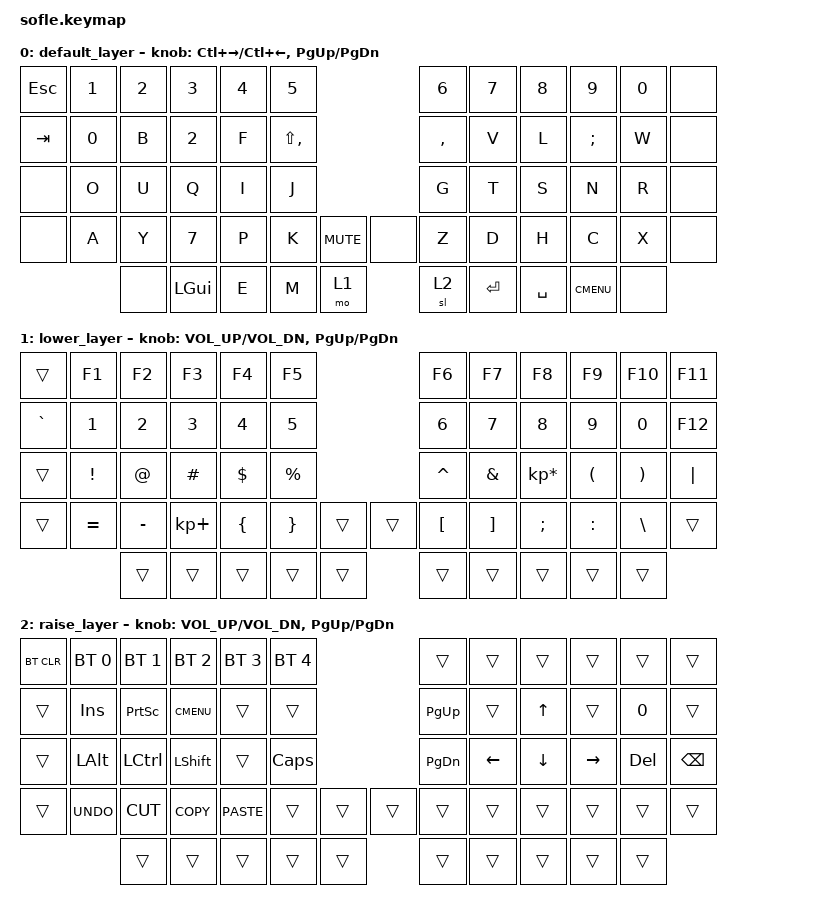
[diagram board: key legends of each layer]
/*
 * Copyright (c) 2020 The ZMK Contributors
 *
 * SPDX-License-Identifier: MIT
 */

#include <behaviors.dtsi>
#include <dt-bindings/zmk/keys.h>
#include <dt-bindings/zmk/bt.h>

/ {
    keymap {
        compatible = "zmk,keymap";

        default_layer {
            bindings = <
&kp ESC   &kp N1 &kp N2   &kp N3   &kp N4    &kp N5                      &kp N6    &kp N7    &kp N8  &kp N9   &kp N0   &none
&kp TAB   &kp N0 &kp B    &kp N2   &kp F     &kp LS(COMMA)               &kp COMMA &kp V     &kp L   &kp SEMI &kp W    &none
&none     &kp O  &kp U    &kp Q    &kp I     &kp J                       &kp G     &kp T     &kp S   &kp N    &kp R    &none
&none     &kp A  &kp Y    &kp N7   &kp P     &kp K  &kp C_MUTE &none     &kp Z     &kp D     &kp H   &kp C    &kp X    &none
                 &none    &kp LGUI &kp E     &kp M  &mo 1      &sl 2     &kp RET   &kp SPACE &kp K_CMENU  &none
            >;

            sensor-bindings = <&inc_dec_kp LC(RIGHT) LC(LEFT) &inc_dec_kp PG_UP PG_DN>;
        };

        lower_layer {
            bindings = <
&trans    &kp F1    &kp F2    &kp F3      &kp F4    &kp F5                    &kp F6    &kp F7   &kp F8          &kp F9    &kp F10   &kp F11
&kp GRAVE &kp N1    &kp N2    &kp N3      &kp N4    &kp N5                    &kp N6    &kp N7   &kp N8          &kp N9    &kp N0    &kp F12
&trans    &kp EXCL  &kp AT    &kp HASH    &kp DLLR  &kp PRCNT                 &kp CARET &kp AMPS &kp KP_MULTIPLY &kp LPAR  &kp RPAR  &kp PIPE
&trans    &kp EQUAL &kp MINUS &kp KP_PLUS &kp LBRC  &kp RBRC  &trans   &trans &kp LBKT  &kp RBKT &kp SEMI        &kp COLON &kp BSLH  &trans
                    &trans    &trans      &trans    &trans    &trans   &trans &trans    &trans   &trans          &trans
            >;

            sensor-bindings = <&inc_dec_kp C_VOL_UP C_VOL_DN &inc_dec_kp PG_UP PG_DN>;
        };

        raise_layer {
            bindings = <
&bt BT_CLR &bt BT_SEL 0 &bt BT_SEL 1 &bt BT_SEL 2 &bt BT_SEL 3 &bt BT_SEL 4             &trans    &trans    &trans   &trans    &trans  &trans
&trans     &kp INS      &kp PSCRN    &kp K_CMENU  &trans       &trans                   &kp PG_UP &trans    &kp UP   &trans    &kp N0  &trans
&trans     &kp LALT     &kp LCTRL    &kp LSHFT    &trans       &kp CLCK                 &kp PG_DN &kp LEFT  &kp DOWN &kp RIGHT &kp DEL &kp BSPC
&trans     &kp K_UNDO   &kp K_CUT    &kp K_COPY   &kp K_PASTE  &trans  &trans   &trans  &trans    &trans    &trans   &trans    &trans  &trans
                        &trans       &trans       &trans       &trans  &trans   &trans  &trans    &trans    &trans   &trans
            >;

            sensor-bindings = <&inc_dec_kp C_VOL_UP C_VOL_DN &inc_dec_kp PG_UP PG_DN>;
        };
    };
};
